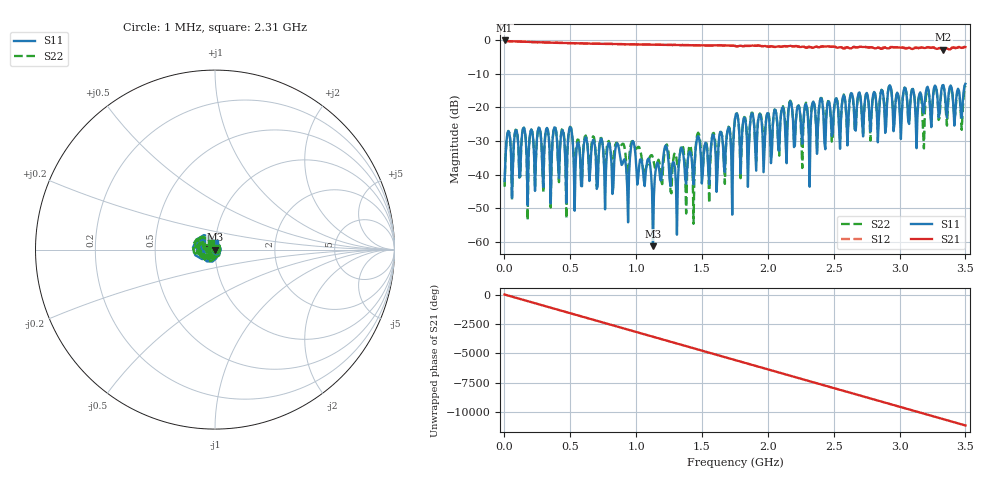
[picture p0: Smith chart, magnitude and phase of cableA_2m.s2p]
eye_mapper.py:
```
#%%
import serdespy as sdp
import numpy as np
import matplotlib.pyplot as plt
import skrf as rf
import scipy as sp

# %%
nw = rf.Network('./sparams/cableA_2m.s2p')

H = nw.s21.s[:,0,0]
h    = np.real(np.fft.ifft(H))
plt.plot(h)
plt.title("Channel Impulse Response - Direct Conversion")
plt.axis(xmin=0, xmax=100)
plt.show()

# %%
f = nw.s21.f
fmin = f[0]
if(fmin == 0):   # If the d.c. point was included in the Touchstone file...
    fmin = f[1]  # then the next element contains the real fmin.
fmax = f[-1]
Hdc  = 1
HNyq = nw.s21.s[-1, 0, 0]
f = np.arange(fmin, fmax, fmin)    # Enforcing uniform frequency steps. (See #2 above.)
F = rf.Frequency.from_f(f / 1e9)   # skrf.Frequency.from_f() expects its argument to be in units of GHz.
# %%
# Form impulse response from frequency response.
H     = nw.s21.interpolate(F).s[:, 0, 0]
Hconj = np.flip(np.conj(H))
H = np.concatenate((np.insert(H, 0, Hdc), np.insert(Hconj, 0, HNyq)))  # Forming the vector that fft() would've outputted.
h = np.real(np.fft.ifft(H))

# Form time vector.
t0 = 1. / (2. * fmax)  # Sampling interval = 1 / (2 fNyquist).
t  = np.array([n * t0 for n in range(len(h))])

plt.figure(figsize=(7, 5))
plt.plot(t * 1e9, h)
plt.title("Channel Impulse Response - Manually Constructed H(f)")
plt.xlabel("Time (ns)")
#plt.ylabel("h(t) (?)")
plt.axis(xmin=1, xmax=1.5)
plt.show()
# %%
import pybert as pb
# %%
```
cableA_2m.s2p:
# GHZ S RI R 50.000000000000
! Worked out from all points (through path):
!   501 points, 1 MHz to 3.5 GHz, reference 50 ohm
!   highest |S21| = -0.05 dB at 1 MHz (marker M1); lowest = -2.8 dB at 3.332 GHz (marker M2)
!   group delay of S21, straight-line fit = 8.81 ns
!   lowest |S11| = -61.3 dB at 1.128 GHz (marker M3), VSWR 1.00, Z = 50 - j0.0795 ohm
!   |S11| at or under -10 dB: start of sweep to end of sweep
!   |S22| runs from -54.6 to -13.4 dB; largest |S21 - S12| = 0.029
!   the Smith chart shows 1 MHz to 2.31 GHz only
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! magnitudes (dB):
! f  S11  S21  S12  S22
! 1 MHz  -41.9  0.0  -0.1  -43.6
! 28.99 MHz  -27.0  -0.2  -0.3  -27.0
! 497.9 MHz  -25.8  -0.9  -0.9  -25.8
! 931.7 MHz  -43.6  -1.2  -1.2  -41.9
! 973.7 MHz  -30.0  -1.2  -1.2  -30.1
! 1.128 GHz  -61.3  -1.3  -1.3  -35.0
! 1.226 GHz  -31.3  -1.4  -1.4  -31.3
! 1.31 GHz  -57.9  -1.4  -1.4  -36.2
! 1.75 GHz  -23.4  -1.7  -1.7  -23.4
! 3.332 GHz  -13.3  -2.8  -2.6  -13.5
! 3.5 GHz  -13.0  -2.0  -2.1  -13.5
